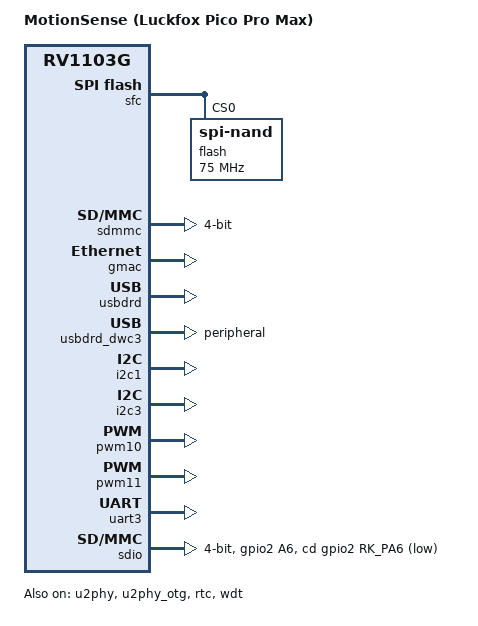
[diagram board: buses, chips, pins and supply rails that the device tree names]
// SPDX-License-Identifier: (GPL-2.0+ OR MIT)
/*
 * MotionSense — Luckfox Pico Pro Max carrier.
 *
 * Hardware is the stock Pro Max, so this only includes the vendor dtsi and
 * overrides what this product needs. Keeping it as a separate file means the
 * vendor's rv1106g-luckfox-pico-pro-max.dts never has to be edited, so
 * syncing upstream cannot conflict.
 *
 * Adding a .dts here needs no Makefile change: the kernel is built with
 * `make <name>.img`, which resolves through the generic %.dtb pattern rule.
 * None of the vendor luckfox dts files are listed in the dts Makefile either.
 */

/dts-v1/;

#include "rv1106.dtsi"
#include "rv1106-evb.dtsi"
#include "rv1106-luckfox-pico-pro-max-ipc.dtsi"

/ {
	model = "MotionSense (Luckfox Pico Pro Max)";
	compatible = "rockchip,rv1103g-38x38-ipc-v10", "rockchip,rv1106g3";
};

/**********FLASH**********/
&sfc {
	status = "okay";
	flash@0 {
		compatible = "spi-nand";
		reg = <0>;
		spi-max-frequency = <75000000>;
		spi-rx-bus-width = <4>;
		spi-tx-bus-width = <1>;
	};
};

/**********SDMMC**********/
/*
 * The vendor Pro Max dts spells this property "max-freqency", so it is
 * ignored and the controller inherits max-frequency = <200000000> from
 * rv1106.dtsi. Spelled correctly here. no-1-8-v keeps SD/SDIO at 50MHz
 * regardless, so this is about the property doing what it says.
 */
&sdmmc {
	max-frequency = <50000000>;
	no-mmc;
	bus-width = <4>;
	cap-mmc-highspeed;
	cap-sd-highspeed;
	disable-wp;

	//sdio
	cap-sdio-irq;
	/*
	 * non-removable is deliberately not set, unlike the vendor dts.
	 *
	 * That property comes from the reference design, where this slot holds
	 * an SDIO wifi module. Here it holds a removable SD card that the
	 * recordings live on, so card-detect has to be live: with
	 * non-removable the core scans once at probe, ignores the CD pin, and
	 * never retries.
	 *
	 * That is not theoretical. On this board the card times out at the
	 * first probe frequency and only answers on the retry:
	 *   400kHz -> error -110 whilst initialising SD card
	 *   300kHz -> new high speed SDXC card at address 59b4
	 * With non-removable, a boot-time failure was permanent and reseating
	 * the card produced no event at all.
	 */
	no-1-8-v;
	supports-sdio;

	pinctrl-names = "default";
	pinctrl-0 = <&sdmmc0_clk &sdmmc0_cmd &sdmmc0_det &sdmmc0_bus4>;
	status = "okay";
};

/**********ETH**********/
&gmac {
	status = "okay";
};

/**********USB**********/
&u2phy {
	status = "okay";
};

&u2phy_otg {
	rockchip,dis-u2-susphy;
	status = "okay";
};

&usbdrd {
	status = "okay";
};

&usbdrd_dwc3 {
	status = "okay";
	dr_mode = "peripheral";
};

/**********RTC**********/
&rtc {
	status = "okay";
};

/**********WATCHDOG**********/
/* Idle until something opens /dev/watchdog. */
&wdt {
	status = "okay";
};

/**********BASEBOARD**********/
/*
 * What the MotionSense baseboard (project/app/motionsense/hardware/
 * promax-baseboard) hangs on the 40-pin header. Without the baseboard these
 * are idle controllers on open pins.
 *
 * The vendor dtsi gives several of these controllers two pin groups at once.
 * Each is narrowed here to the group on the header pin the baseboard uses,
 * because the other group lands on a pin with another job:
 *   i2c3  m0 is GPIO2_A6/A7, and A6 is the card-detect line
 *   pwm10 m2 is GPIO1_D1, UART3 RX
 *   pwm11 m2 is GPIO1_D3, I2C3 SCL
 */

/* The vendor's example DHT11 claims GPIO1_C7, which is PWM11 (tilt servo). */
/ {
	/delete-node/ dht11_sensor;
};

/* Head OLED, header pins 11 and 17. */
&i2c1 {
	status = "okay";
};

/* RTC 0x68, address EEPROM 0x50, humidity sensor 0x44; pins 9 and 10. */
&i2c3 {
	pinctrl-0 = <&i2c3m1_xfer>;
	status = "okay";
};

/* Pan servo, pin 5. */
&pwm10 {
	pinctrl-0 = <&pwm10m1_pins>;
	status = "okay";
};

/* Tilt servo, pin 4. */
&pwm11 {
	pinctrl-0 = <&pwm11m1_pins>;
	status = "okay";
};

/* Spare serial header, pins 19 and 20. */
&uart3 {
	status = "okay";
};

/*
 * Second card slot, pins 21, 22 and 24-27, detect on pin 29. The detect
 * switch closes to ground with a card in; the pull-up makes a bare Pro Max
 * read "no card" instead of probing an empty bus.
 */
&sdio {
	max-frequency = <50000000>;
	no-sdio;
	no-mmc;
	bus-width = <4>;
	cap-sd-highspeed;
	disable-wp;
	no-1-8-v;
	cd-gpios = <&gpio2 RK_PA6 GPIO_ACTIVE_LOW>;
	pinctrl-names = "default";
	pinctrl-0 = <&sdmmc1m0_cmd &sdmmc1m0_clk &sdmmc1m0_bus4 &baseboard_card_det>;
	status = "okay";
};

&pinctrl {
	baseboard {
		baseboard_card_det: baseboard-card-det {
			rockchip,pins = <2 RK_PA6 RK_FUNC_GPIO &pcfg_pull_up>;
		};
	};
};
